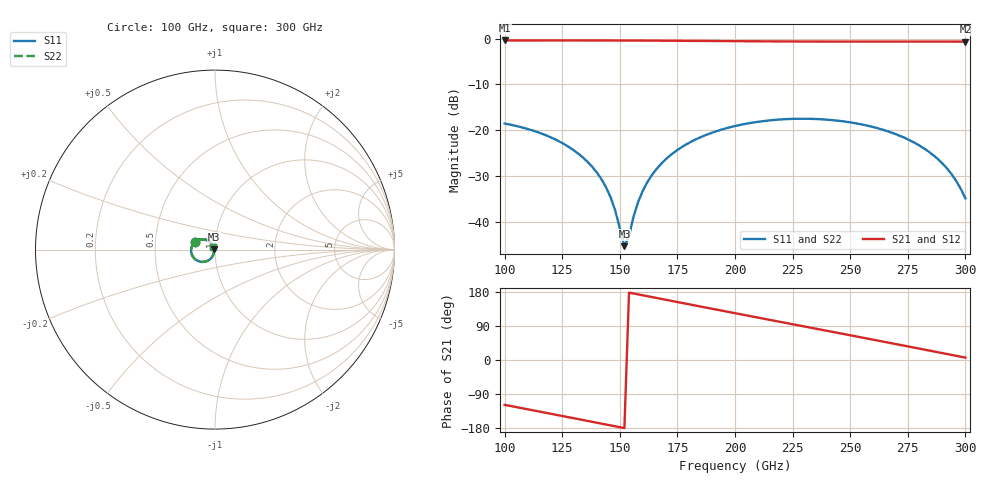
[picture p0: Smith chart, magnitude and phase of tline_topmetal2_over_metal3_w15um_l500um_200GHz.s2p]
#  GHZ S DB R 50
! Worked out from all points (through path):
!   101 points, 100 GHz to 300 GHz, reference 50 ohm
!   highest |S21| = -0.39 dB at 100 GHz (marker M1); lowest = -0.6 dB at 300 GHz (marker M2)
!   group delay of S21, straight-line fit = 3.27 ps
!   lowest |S11| = -45.3 dB at 152 GHz (marker M3), VSWR 1.01, Z = 49.5 + j0.0595 ohm
!   |S11| at or under -10 dB: start of sweep to end of sweep
!   |S22| runs from -45.0 to -17.5 dB; largest |S21 - S12| = 1.1e-14
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100  -18.55 159.4  -0.39 -118.4  -0.39 -118.4  -18.54 159.6
120  -21.56 136.6  -0.39 -141.8  -0.39 -141.8  -21.54 136.9
134  -25.97 122.2  -0.39 -158.4  -0.39 -158.4  -25.95 122.7
140  -29.23 117.8  -0.39 -165.5  -0.39 -165.5  -29.19 118.4
144  -32.45 117.0  -0.40 -170.2  -0.40 -170.2  -32.39 117.7
148  -37.53 122.9  -0.40 -175.0  -0.40 -175.0  -37.41 123.8
152  -45.35 173.6  -0.41 -179.7  -0.41 -179.7  -44.98 173.2
154  -43.11 -137.1  -0.41 177.9  -0.41 177.9  -43.00 -138.7
156  -38.84 -117.8  -0.41 175.5  -0.41 175.5  -38.84 -118.7
160  -33.21 -109.0  -0.42 170.8  -0.42 170.8  -33.23 -109.3
164  -29.76 -109.1  -0.43 166.0  -0.43 166.0  -29.77 -109.2
168  -27.32 -111.5  -0.44 161.3  -0.44 161.3  -27.33 -111.5
182  -22.25 -124.8  -0.49 144.7  -0.49 144.7  -22.26 -124.6
200  -19.10 -144.1  -0.55 123.6  -0.55 123.6  -19.10 -143.9
218  -17.72 -163.9  -0.59 102.5  -0.59 102.5  -17.72 -163.6
234  -17.54 178.5  -0.62 83.9  -0.62 83.9  -17.53 178.9
250  -18.29 161.0  -0.64 65.2  -0.64 65.2  -18.29 161.5
268  -20.54 142.0  -0.64 44.2  -0.64 44.2  -20.53 142.5
280  -23.34 130.5  -0.64 30.0  -0.64 30.0  -23.33 131.1
288  -26.29 124.5  -0.64 20.6  -0.64 20.6  -26.27 125.3
294  -29.61 123.0  -0.64 13.5  -0.64 13.5  -29.58 123.8
300  -34.90 131.1  -0.64 6.3  -0.64 6.3  -34.82 132.2
